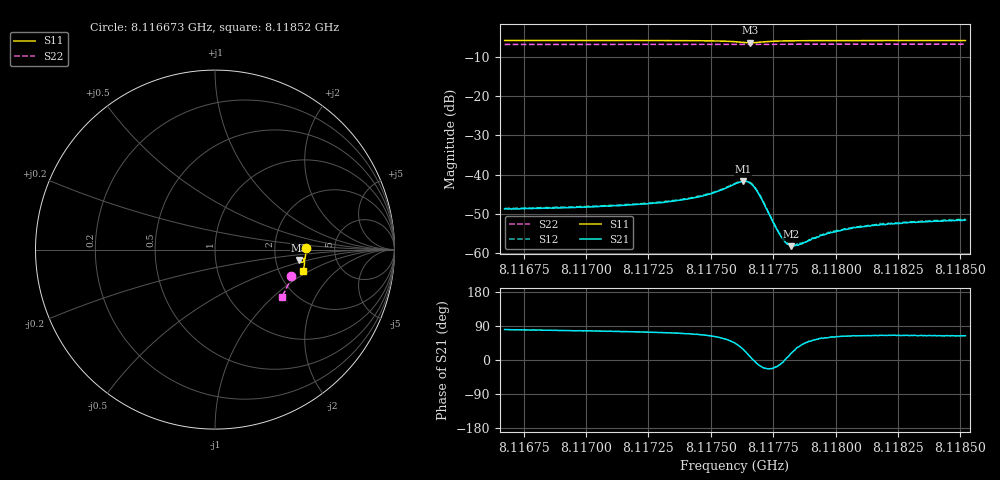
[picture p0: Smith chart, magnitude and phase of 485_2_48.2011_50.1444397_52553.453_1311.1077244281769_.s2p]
#  HZ  S  RI  R  50.00
! Rohde & Schwarz Vector Network Analyzer
! Rohde-Schwarz,ZNB20-2Port,1311601062101988,3.16
! Created: UTC 3/20/2024, 11:57:49 AM
! freq[Hz]  re:S11  im:S11  re:S21  im:S21  re:S12  im:S12  re:S22  im:S22
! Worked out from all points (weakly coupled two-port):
!   401 points, 8.116673 GHz to 8.11852 GHz, reference 50 ohm
!   highest |S21| = -41.67 dB at 8.117629 GHz (marker M1); lowest = -58.2 dB at 8.117823 GHz (marker M2)
!   lowest |S11| = -6.5 dB at 8.117657 GHz (marker M3), VSWR 2.80, Z = 136 - j20.5 ohm
!   |S11| at or under -10 dB: nowhere
!   |S22| runs from -6.9 to -6.8 dB; largest |S21 - S12| = 0.0002
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8.1166734e9  0.5069 0.00883  0.000609 0.00363  0.000704 0.00366  0.426 -0.1468
8.1169827e9  0.5062 -0.0151  0.000855 0.00375  0.000928 0.00385  0.4192 -0.1672
8.117292e9  0.5038 -0.0404  0.00134 0.0042  0.00137 0.00425  0.4115 -0.1876
8.1173751e9  0.5023 -0.0478  0.00159 0.00444  0.00164 0.00453  0.4092 -0.1928
8.1174674e9  0.4993 -0.0571  0.00214 0.00491  0.00226 0.00501  0.4066 -0.1989
8.1175321e9  0.495 -0.0647  0.00314 0.00539  0.00324 0.00545  0.4046 -0.203
8.1175967e9  0.4839 -0.0708  0.00544 0.00533  0.00557 0.00539  0.4021 -0.207
8.117629e9  0.4745 -0.0681  0.00725 0.00395  0.00737 0.00395  0.4008 -0.2088
8.1176567e9  0.47 -0.0584  0.00774 0.00126  0.00789 0.00126  0.4 -0.21
8.1176752e9  0.4728 -0.0511  0.00683 -0.00045  0.00699 -0.000524  0.3996 -0.2109
8.1176936e9  0.4787 -0.0472  0.00538 -0.00136  0.00552 -0.00142  0.3995 -0.2117
8.1177583e9  0.4938 -0.0526  0.00207 -0.000688  0.00211 -0.000746  0.3981 -0.216
8.1177814e9  0.4959 -0.0561  0.00161 -0.000268  0.00163 -0.000277  0.3975 -0.2177
8.1178044e9  0.4973 -0.0594  0.00131 0.000141  0.00138 0.000111  0.3969 -0.2191
8.1178229e9  0.4981 -0.0617  0.00117 0.000388  0.00123 0.000378  0.3963 -0.2204
8.117846e9  0.4985 -0.0647  0.00106 0.000692  0.00112 0.000722  0.3955 -0.2219
8.1178737e9  0.4988 -0.0679  0.000993 0.000943  0.00102 0.000936  0.3946 -0.2235
8.117906e9  0.4988 -0.0714  0.000971 0.00122  0.000997 0.00123  0.3936 -0.2257
8.1180076e9  0.4983 -0.0811  0.000909 0.00168  0.000961 0.00171  0.3904 -0.2321
8.1180768e9  0.4974 -0.0871  0.000937 0.00191  0.000963 0.00192  0.388 -0.2363
8.1182153e9  0.4955 -0.0983  0.000996 0.00217  0.00105 0.00216  0.3833 -0.2449
8.11852e9  0.4904 -0.1215  0.00117 0.00239  0.00123 0.00244  0.3718 -0.263
